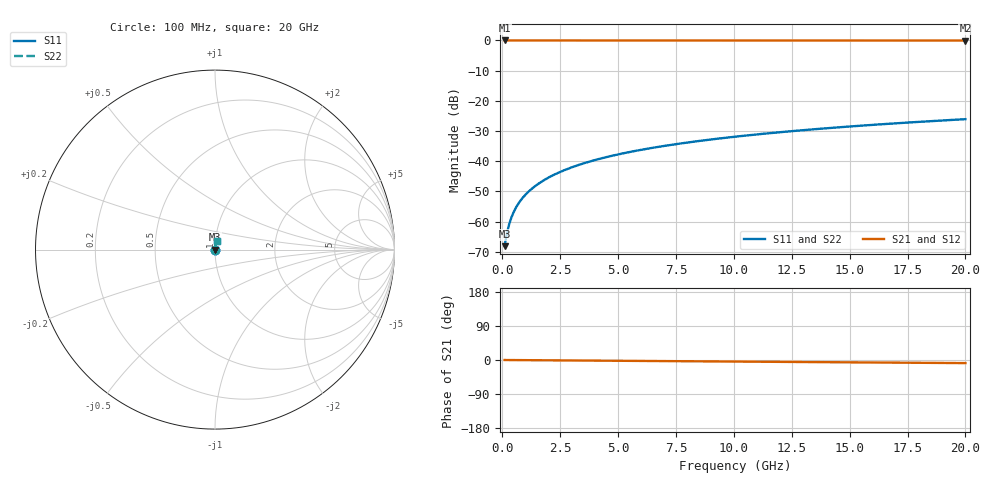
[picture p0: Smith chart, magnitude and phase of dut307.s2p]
! Touchstone file exported from HFSS 2026.1.0
!  File:  C:/ffzhzh/LocalFiles/Ansys_Project_Files/temp_train_TSV_307_1783017999_53980.aedt
!  Generated:  02:48:39 AM Jul  3, 2026
!  Design:  TSV
!  Project:  temp_train_TSV_307_1783017999_53980
! Variables:
!  h_bsmrdl = 2um
!  h_ox = 20um
!  h_rdl = 5um
!  h_sub = 75.45um
!  h_tmrdl = 5um
!  h_tsv = 75.45um
!  h_via = 3um
!  l_bsmrdl = 300um
!  l_sub = 412.3um
!  l_tmrdl = 200um
!  m_sub = 200um
!  pitch = 40.73um
!  r_tsv = 6.15um
!  s_tmrdl = 10um
!  w_bsmrdl = 18um
!  w_sub = 500um
!  w_tmrdl = 12um
!  x_tsv_center1 = 206um
!  x_tsv_center2 = 524um
!  x_tsv_center3 = 736um
!  x_tsv_center4 = 1054um
!  x_tsv_center5 = 1266um
!  x_tsv_center6 = 1584um
# GHz S MA R 50.000000
! Terminal data exported
! Port[1] = TSV1_1_T1
! Port[2] = TSV1_1_T2
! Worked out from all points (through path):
!   200 points, 100 MHz to 20 GHz, reference 50 ohm
!   highest |S21| = 0.00 dB at 100 MHz (marker M1); lowest = 0.0 dB at 20 GHz (marker M2)
!   group delay of S21, straight-line fit = 1.13 ps
!   lowest |S11| = -68.1 dB at 100 MHz (marker M3), VSWR 1.00, Z = 50 + j0.0292 ohm
!   |S11| at or under -10 dB: start of sweep to end of sweep
!   |S22| runs from -68.1 to -26.1 dB; largest |S21 - S12| = 5.2e-15
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0.1  0.0003932 47.9  0.9997 -0.0  0.9997 -0.0  0.0003932 47.9
! Gamma 0 0 0 0
! Port Impedance 50 0 50 0
0.2  0.0006429 64.8  0.9997 -0.1  0.9997 -0.1  0.0006429 64.8
0.3  0.000915 71.5  0.9997 -0.1  0.9997 -0.1  0.000915 71.5
0.4  0.001191 74.9  0.9997 -0.2  0.9997 -0.2  0.001191 74.9
0.5  0.001465 76.9  0.9997 -0.2  0.9997 -0.2  0.001465 76.9
0.6  0.001736 78.2  0.9997 -0.3  0.9997 -0.3  0.001736 78.2
0.7  0.002004 79.1  0.9996 -0.3  0.9996 -0.3  0.002004 79.1
0.8  0.00227 79.8  0.9996 -0.3  0.9996 -0.3  0.00227 79.8
1  0.002795 80.9  0.9996 -0.4  0.9996 -0.4  0.002795 80.9
1.4  0.003832 82.2  0.9995 -0.6  0.9995 -0.6  0.003832 82.2
1.7  0.004604 82.8  0.9995 -0.7  0.9995 -0.7  0.004604 82.8
2  0.005375 83.2  0.9994 -0.8  0.9994 -0.8  0.005375 83.2
2.7  0.007168 83.8  0.9993 -1.1  0.9993 -1.1  0.007168 83.8
3.5  0.009204 84.1  0.9992 -1.5  0.9992 -1.5  0.009204 84.1
4.2  0.01097 84.1  0.9991 -1.7  0.9991 -1.7  0.01097 84.1
5  0.01298 84.1  0.999 -2.1  0.999 -2.1  0.01298 84.1
6.8  0.01747 83.8  0.9988 -2.8  0.9988 -2.8  0.01747 83.8
8.3  0.02118 83.5  0.9986 -3.4  0.9986 -3.4  0.02118 83.5
10.1  0.02562 83.1  0.9984 -4.2  0.9984 -4.2  0.02562 83.1
13.4  0.03373 82.1  0.998 -5.5  0.998 -5.5  0.03373 82.1
16.7  0.04178 81.0  0.9976 -6.8  0.9976 -6.8  0.04178 81.0
20  0.04976 79.8  0.997 -8.2  0.997 -8.2  0.04976 79.8
